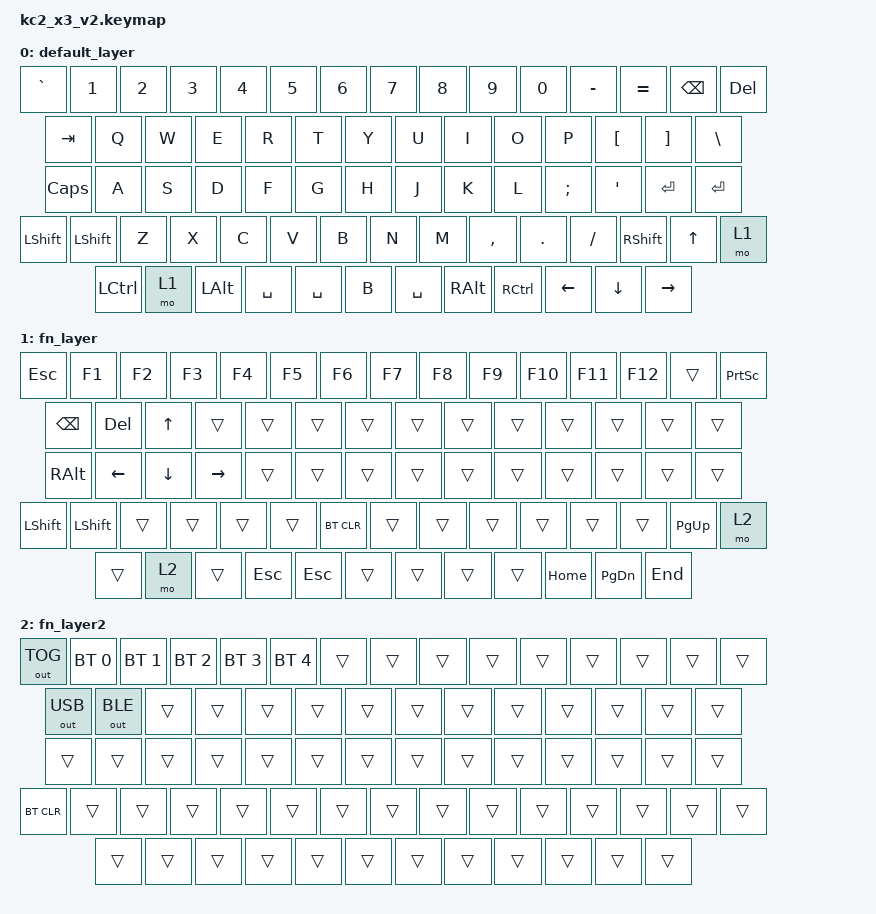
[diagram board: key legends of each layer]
#include <behaviors.dtsi>
#include <dt-bindings/zmk/bt.h>
#include <dt-bindings/zmk/keys.h>
#include <dt-bindings/zmk/outputs.h>

/*
 * CON-ARCH-004 fixed 70-key v5 order. Each row is left then right.
 * Row 0: L_SW01..L_SW07, R_SW01..R_SW08
 * Row 1: L_SW08..L_SW13, R_SW09..R_SW16
 * Row 2: L_SW14..L_SW19, R_SW17..R_SW24
 * Row 3: L_SW20..L_SW26, R_SW25..R_SW32
 * Row 4: L_SW27..L_SW31, R_SW33..R_SW39
 */
/ {
    keymap {
        compatible = "zmk,keymap";

        default_layer {
            bindings = <
                &kp GRAVE &kp N1 &kp N2 &kp N3 &kp N4 &kp N5 &kp N6 &kp N7 &kp N8 &kp N9 &kp N0 &kp MINUS &kp EQUAL &kp BSPC &kp DEL
                &kp TAB &kp Q &kp W &kp E &kp R &kp T &kp Y &kp U &kp I &kp O &kp P &kp LBKT &kp RBKT &kp BSLH
                &kp CAPS &kp A &kp S &kp D &kp F &kp G &kp H &kp J &kp K &kp L &kp SEMI &kp SQT &kp RET &kp RET
                &kp LSHFT &kp LSHFT &kp Z &kp X &kp C &kp V &kp B &kp N &kp M &kp COMMA &kp DOT &kp FSLH &kp RSHFT &kp UP &mo 1
                &kp LCTRL &mo 1 &kp LALT &kp SPACE &kp SPACE &kp B &kp SPACE &kp RALT &kp RCTRL &kp LEFT &kp DOWN &kp RIGHT
            >;
        };

        fn_layer {
            bindings = <
                &kp ESC &kp F1 &kp F2 &kp F3 &kp F4 &kp F5 &kp F6 &kp F7 &kp F8 &kp F9 &kp F10 &kp F11 &kp F12 &trans &kp PSCRN
                &kp BSPC &kp DEL &kp UP &trans &trans &trans &trans &trans &trans &trans &trans &trans &trans &trans
                &kp RALT &kp LEFT &kp DOWN &kp RIGHT &trans &trans &trans &trans &trans &trans &trans &trans &trans &trans
                &kp LSHFT &kp LSHFT &trans &trans &trans &trans &bt BT_CLR &trans &trans &trans &trans &trans &trans &kp PG_UP &mo 2
                &trans &mo 2 &trans &kp ESC &kp ESC &trans &trans &trans &trans &kp HOME &kp PG_DN &kp END
            >;
        };

        fn_layer2 {
            bindings = <
                &out OUT_TOG &bt BT_SEL 0 &bt BT_SEL 1 &bt BT_SEL 2 &bt BT_SEL 3 &bt BT_SEL 4 &trans &trans &trans &trans &trans &trans &trans &trans &trans
                &out OUT_USB &out OUT_BLE &trans &trans &trans &trans &trans &trans &trans &trans &trans &trans &trans &trans
                &trans &trans &trans &trans &trans &trans &trans &trans &trans &trans &trans &trans &trans &trans
                &bt BT_CLR &trans &trans &trans &trans &trans &trans &trans &trans &trans &trans &trans &trans &trans &trans
                &trans &trans &trans &trans &trans &trans &trans &trans &trans &trans &trans &trans
            >;
        };
    };

    combos {
        compatible = "zmk,combos";

        left_alt_fn_win {
            timeout-ms = <50>;
            key-positions = <59 60>;
            bindings = <&kp LGUI>;
        };
    };
};
